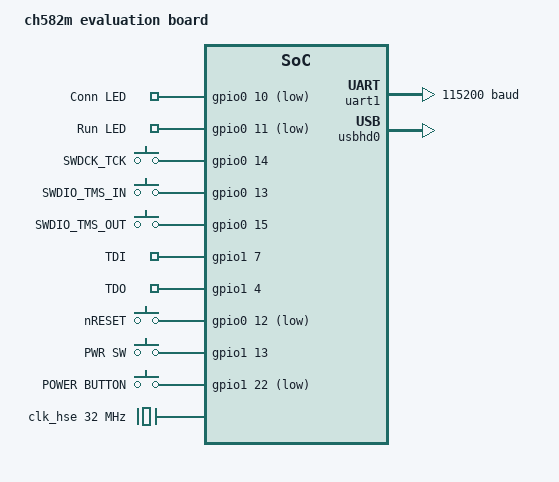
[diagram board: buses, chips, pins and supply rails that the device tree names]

/dts-v1/;

#include <wch/ch57x/ch582m.dtsi>
#include <zephyr/dt-bindings/gpio/gpio.h>

/ {
	model = "ch582m evaluation board";
	compatible = "wch,ch582m";

	chosen {
		zephyr,sram = &sram0;
		zephyr,flash = &flash0;
		zephyr,console = &uart1;
		zephyr,shell-uart = &uart1;
	};

	dap-pins {
		compatible = "gpio-keys";

        conn_led: led0 {
            gpios = <&gpio0 10 (GPIO_PULL_UP | GPIO_ACTIVE_LOW)>;
            label = "Conn LED";
        };

        run_led: led1 {
            gpios = <&gpio0 11 (GPIO_PULL_UP | GPIO_ACTIVE_LOW)>;
            label = "Run LED";
        };

		swclk_tck: swclk_tck {
			gpios = <&gpio0 14 0>;
			label = "SWDCK_TCK";
		};

		swdio_tms_in: swdio_tms_in {
			gpios = <&gpio0 13 0>;
			label = "SWDIO_TMS_IN";
		};

		swdio_tms_out: swdio_tms_out {
			gpios = <&gpio0 15 0>;
			label = "SWDIO_TMS_OUT";
		};

		tdi: tdi {
			gpios = <&gpio1 7 0>;
			label = "TDI";
		};

		tdo: tdo {
			gpios = <&gpio1 4 0>;
			label = "TDO";
		};

		nreset: nreset {
			gpios = <&gpio0 12 (GPIO_PULL_UP | GPIO_ACTIVE_LOW)>;
			label = "nRESET";
		};

		pwr_sw: pwr_sw {
			gpios = <&gpio1 13 0>;
			label = "PWR SW";
		};

		pwr_button: button0 {
			gpios = <&gpio1 22 (GPIO_PULL_UP | GPIO_ACTIVE_LOW)>;
			label = "POWER BUTTON";
		};
	};

};

&clk_hse {
	clock-frequency = <DT_FREQ_M(32)>;
	status = "okay";
};

&clk_pll {
	status = "okay";
};

&rcc {
	clocks = <&clk_pll>;
	clock-frequency = <DT_FREQ_M(80)>;
	status = "okay";
};

&uart1 {
	current-speed = <115200>;
	status = "okay";
};

zephyr_udc0: &usbhd0 {
	status = "okay";
	num-bidir-endpoints = <5>;
};
